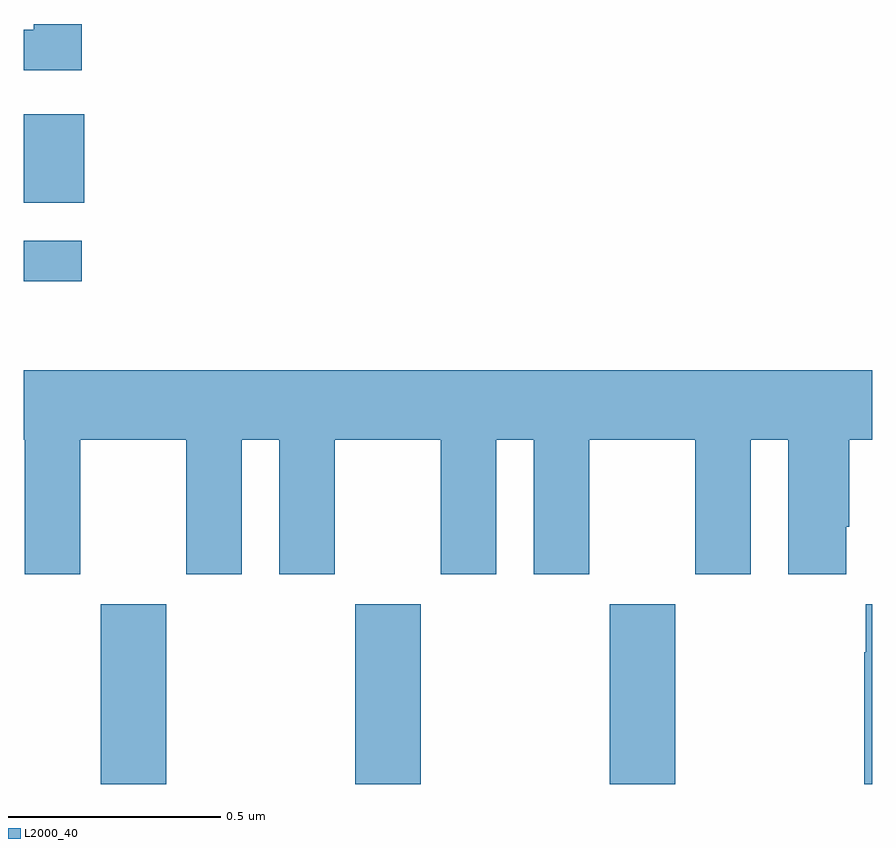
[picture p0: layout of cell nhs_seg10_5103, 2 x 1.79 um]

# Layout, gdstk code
import gdstk
lib = gdstk.Library(unit=1e-6, precision=1e-09)
def R(c, l, rs):  # rectangles x0, y0, x1, y1
    for r in rs: c.add(gdstk.rectangle(r[:2], r[2:], *l))
def A(c, l, x, y, w, h, nx, ny, dx, dy):  # array of equal rectangles
    R(c, l, [(x+i*dx, y+j*dy, x+i*dx+w, y+j*dy+h) for i in range(nx) for j in range(ny)])
def P(c, l, *ps):  # polygons
    for p in ps: c.add(gdstk.Polygon(p, *l))
L2000_40 = (2000, 40)

nhs_seg10_5103 = lib.new_cell('nhs_seg10_5103')
A(nhs_seg10_5103, L2000_40, 174.181, 1303.5, 0.155, 0.424, 3, 1, 0.6, 0)
R(nhs_seg10_5103, L2000_40, [(174,1304.685,174.136,1304.781), (174,1304.87,174.142,1305.079)])
P(nhs_seg10_5103, L2000_40, [(174.136,1305.292),(174.023,1305.292),(174.023,1305.279),(174,1305.279),(174,1305.183),(174.136,1305.183)],
  [(174.133,1304.312),(174.383,1304.312),(174.383,1303.995),(174.514,1303.995),(174.514,1304.312),(174.602,1304.312),(174.602,1303.995),(174.733,1303.995),(174.733,1304.312),(174.983,1304.312),(174.983,1303.995),(175.114,1303.995),(175.114,1304.312),(175.202,1304.312),(175.202,1303.995),(175.333,1303.995),(175.333,1304.312),(175.583,1304.312),(175.583,1303.995),(175.714,1303.995),(175.714,1304.312),(175.802,1304.312),(175.802,1303.995),(175.939,1303.995),(175.939,1304.107),(175.946,1304.107),(175.946,1304.312),(176,1304.312),(176,1304.476),(174,1304.476),(174,1304.312),(174.002,1304.312),(174.002,1303.995),(174.133,1303.995)],
  [(176,1303.924),(175.985,1303.924),(175.985,1303.811),(175.981,1303.811),(175.981,1303.5),(176,1303.5)])

lib.write_gds('nhs_seg10_5103.gds')
